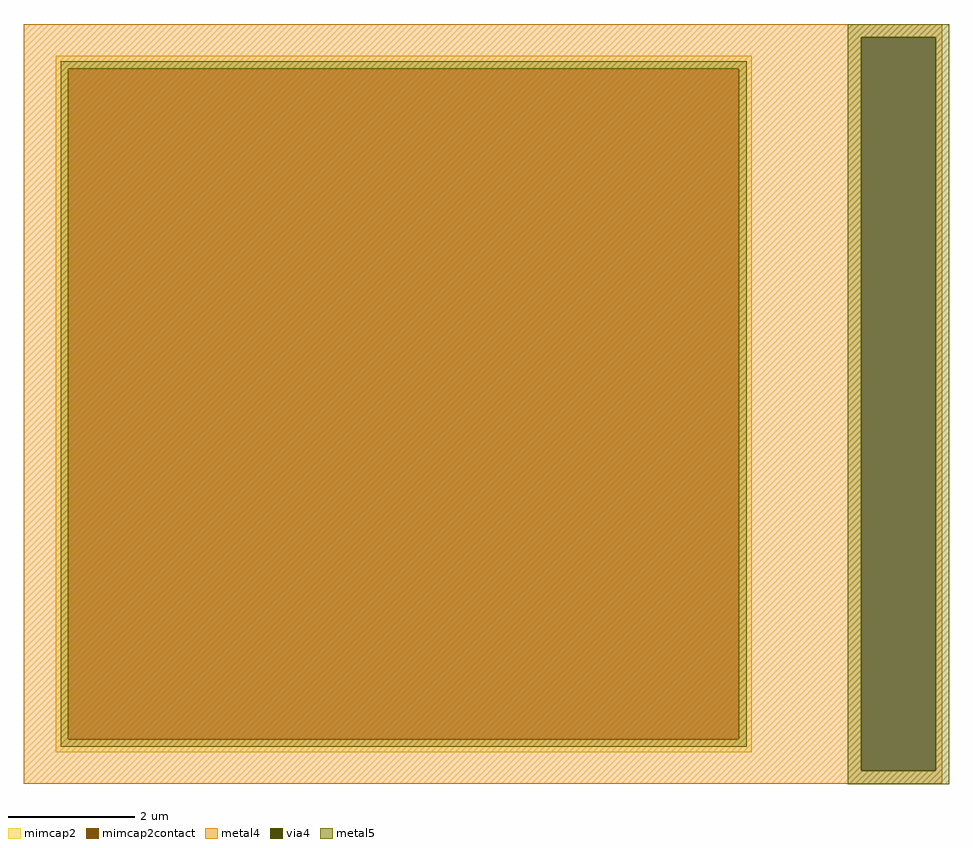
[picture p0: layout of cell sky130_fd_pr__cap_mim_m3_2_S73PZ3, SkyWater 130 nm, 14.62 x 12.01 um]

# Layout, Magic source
magic
tech sky130A
magscale 1 2
<< metal4 >>
rect -1451 1159 1451 1200
rect -1451 -1159 1195 1159
rect 1431 -1159 1451 1159
rect -1451 -1200 1451 -1159
<< via4 >>
rect 1195 -1159 1431 1159
<< mimcap2 >>
rect -1351 1060 849 1100
rect -1351 -1060 -1311 1060
rect 809 -1060 849 1060
rect -1351 -1100 849 -1060
<< mimcap2contact >>
rect -1311 -1060 809 1060
<< metal5 >>
rect 1153 1159 1473 1201
rect -1335 1060 833 1084
rect -1335 -1060 -1311 1060
rect 809 -1060 833 1060
rect -1335 -1084 833 -1060
rect 1153 -1159 1195 1159
rect 1431 -1159 1473 1159
rect 1153 -1201 1473 -1159
<< properties >>
string gencell sky130_fd_pr__cap_mim_m3_2
string FIXED_BBOX -1451 -1200 949 1200
string parameters w 11 l 11 val 128.479 carea 1.00 cperi 0.17 nx 1 ny 1 dummy 0 square 0 lmin 2.00 wmin 2.00 lmax 30.0 wmax 30.0 dc 0 bconnect 1 tconnect 1 ccov 100
string library sky130
<< end >>
